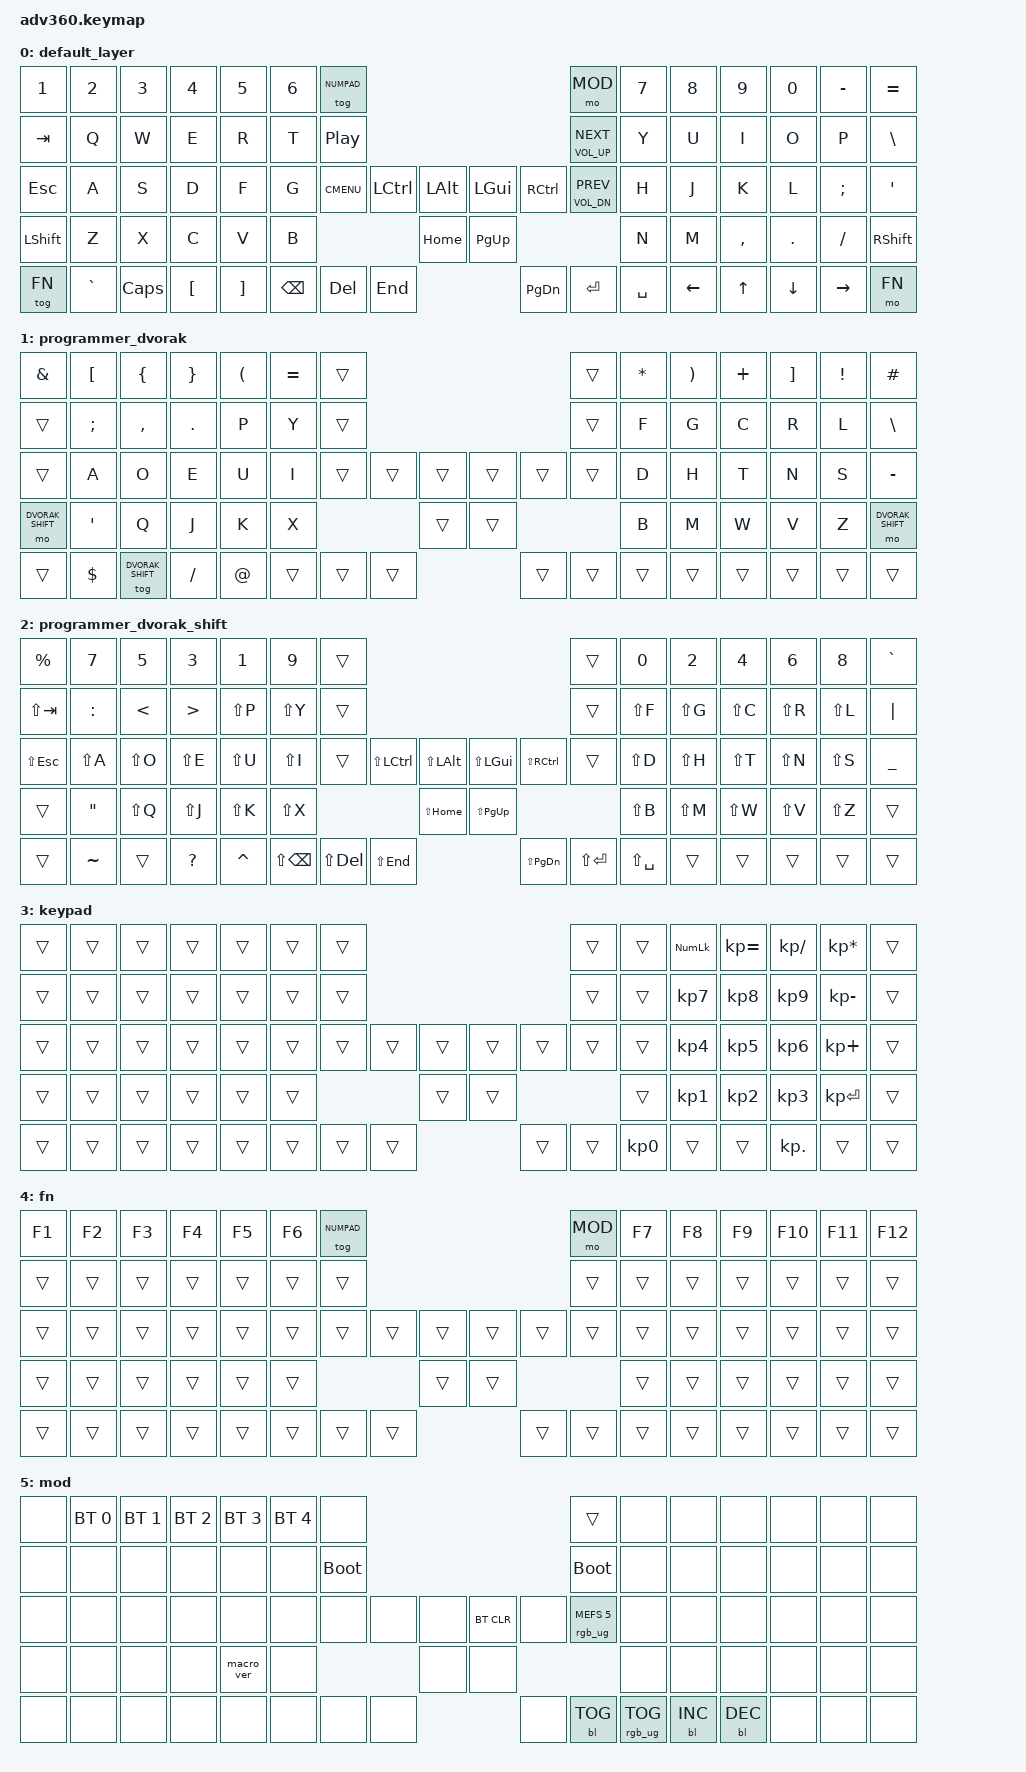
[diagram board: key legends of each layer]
#include <behaviors.dtsi>
#include <dt-bindings/zmk/keys.h>
#include <dt-bindings/zmk/bt.h>
#include <dt-bindings/zmk/rgb.h>
#include <dt-bindings/zmk/backlight.h>

// Layers                 light color:
#define QWERTY 0       // off
#define DVORAK 1       // white
#define DVORAK_SHIFT 2 // blue
#define NUMPAD 3       // green
#define FN 4           // red
#define MOD 5          // purple

/ {
    behaviors {
      #include "macros.dtsi"
      #include "version.dtsi"
      #ifndef VERSION_MACRO
      macro_ver: macro_ver {
        compatible = "zmk,behavior-macro";
        label = "macro_version";
        #binding-cells = <0>;
        bindings = <&kp RET>;
      };
      #endif

      ht: hold_tap {
          compatible = "zmk,behavior-hold-tap";
          label = "HOLD_TAP";
          #binding-cells = <2>;
          tapping-term-ms = <200>;
          flavor = "tap-preferred";
          bindings = <&kp>, <&kp>;
      };
    };
  
  combos {
    compatible = "zmk,combos";
    combo_dvk {
      timeout-ms = <200>;
      key-positions = <20 21 34 39>;
      bindings = <&tog DVORAK>;
    };
  };

  keymap {
    compatible = "zmk,keymap";

    default_layer {
      bindings = <
        &kp N1    &kp N2    &kp N3   &kp N4   &kp N5     &kp N6 &tog NUMPAD                                                                &mo MOD             &kp N7   &kp N8   &kp N9    &kp N0    &kp MINUS &kp EQUAL
        &kp TAB   &kp Q     &kp W    &kp E    &kp R      &kp T  &kp C_PLAY_PAUSE                                                           &ht C_VOL_UP C_NEXT &kp Y    &kp U    &kp I     &kp O     &kp P     &kp BSLH
        &kp ESC   &kp A     &kp S    &kp D    &kp F      &kp G  &kp K_CMENU               &kp LCTRL &kp LALT &kp LGUI  &kp RCTRL           &ht C_VOL_DN C_PREV &kp H    &kp J    &kp K     &kp L     &kp SEMI  &kp SQT
        &kp LSHFT &kp Z     &kp X    &kp C    &kp V      &kp B                                      &kp HOME &kp PG_UP                                         &kp N    &kp M    &kp COMMA &kp DOT   &kp FSLH  &kp RSHFT
        &tog FN   &kp GRAVE &kp CAPS &kp LBKT &kp RBKT                           &kp BSPC &kp DEL   &kp END  &kp PG_DN &kp ENTER &kp SPACE                              &kp LEFT &kp UP    &kp DOWN  &kp RIGHT &mo FN
      >;
    };
    programmer_dvorak {
      bindings = <
        &kp AMPS         &kp LBKT  &kp LBRC          &kp RBRC &kp LPAR   &kp EQUAL &trans                                            &trans &kp STAR &kp RPAR &kp PLUS &kp RBKT &kp EXCL &kp POUND
        &trans           &kp SEMI  &kp COMMA         &kp DOT  &kp P      &kp Y     &trans                                            &trans &kp F    &kp G    &kp C    &kp R    &kp L    &kp BSLH
        &trans           &kp A     &kp O             &kp E    &kp U      &kp I     &trans       &trans  &trans &trans  &trans        &trans &kp D    &kp H    &kp T    &kp N    &kp S    &kp MINUS
        &mo DVORAK_SHIFT &kp SQT   &kp Q             &kp J    &kp K      &kp X                          &trans &trans                       &kp B    &kp M    &kp W    &kp V    &kp Z    &mo DVORAK_SHIFT
        &trans           &kp DLLR  &tog DVORAK_SHIFT &kp FSLH &kp AT                      &trans &trans &trans  &trans &trans &trans                 &trans   &trans   &trans   &trans   &trans
      >;
    };
    programmer_dvorak_shift {
      bindings = <
        &kp PRCNT   &kp N7    &kp N5    &kp N3    &kp N1    &kp N9    &trans                                                                                   &trans &kp N0    &kp N2    &kp N4    &kp N6    &kp N8    &kp GRAVE
        &kp LS(TAB) &kp COLON &kp LT    &kp GT    &kp LS(P) &kp LS(Y) &trans                                                                                   &trans &kp LS(F) &kp LS(G) &kp LS(C) &kp LS(R) &kp LS(L) &kp PIPE
        &kp LS(ESC) &kp LS(A) &kp LS(O) &kp LS(E) &kp LS(U) &kp LS(I) &trans              &kp LS(LCTRL) &kp LS(LALT) &kp LS(LGUI)  &kp LS(RCTRL)               &trans &kp LS(D) &kp LS(H) &kp LS(T) &kp LS(N) &kp LS(S) &kp UNDERSCORE
        &trans      &kp DQT   &kp LS(Q) &kp LS(J) &kp LS(K) &kp LS(X)                                   &kp LS(HOME) &kp LS(PG_UP)                                    &kp LS(B) &kp LS(M) &kp LS(W) &kp LS(V) &kp LS(Z) &trans
        &trans      &kp TILDE &trans    &kp QMARK &kp CARET                  &kp LS(BSPC) &kp LS(DEL)   &kp LS(END)  &kp LS(PG_DN) &kp LS(ENTER) &kp LS(SPACE)                  &trans    &trans    &trans    &trans    &trans
      >;
    };
    keypad {
      bindings = <
        &trans &trans &trans &trans &trans &trans &trans                                              &trans &trans &kp KP_NUM &kp KP_EQUAL &kp KP_DIVIDE &kp KP_MULTIPLY &trans
        &trans &trans &trans &trans &trans &trans &trans                                              &trans &trans &kp KP_N7  &kp KP_N8    &kp KP_N9     &kp KP_MINUS    &trans
        &trans &trans &trans &trans &trans &trans &trans        &trans &trans &trans &trans           &trans &trans &kp KP_N4  &kp KP_N5    &kp KP_N6     &kp KP_PLUS     &trans
        &trans &trans &trans &trans &trans &trans                      &trans &trans                         &trans &kp KP_N1  &kp KP_N2    &kp KP_N3     &kp KP_ENTER    &trans
        &trans &trans &trans &trans &trans               &trans &trans &trans &trans &trans &kp KP_N0               &trans     &trans       &kp KP_DOT    &trans          &trans
      >;
    };
    fn {
      bindings = <
        &kp F1 &kp F2 &kp F3 &kp F4 &kp F5 &kp F6 &tog NUMPAD                                       &mo MOD  &kp F7 &kp F8 &kp F9 &kp F10 &kp F11 &kp F12
        &trans &trans &trans &trans &trans &trans &trans                                            &trans   &trans &trans &trans &trans  &trans  &trans
        &trans &trans &trans &trans &trans &trans &trans         &trans &trans &trans &trans        &trans   &trans &trans &trans &trans  &trans  &trans
        &trans &trans &trans &trans &trans &trans                       &trans &trans                        &trans &trans &trans &trans  &trans  &trans
        &trans &trans &trans &trans &trans                &trans &trans &trans &trans &trans &trans                 &trans &trans &trans  &trans  &trans
      >;
    };
    mod {
      bindings = <
        &none &bt BT_SEL 0 &bt BT_SEL 1 &bt BT_SEL 2 &bt BT_SEL 3 &bt BT_SEL 4 &none                                                                     &trans                 &none        &none        &none        &none &none &none
        &none &none        &none        &none        &none        &none        &bootloader                                                               &bootloader            &none        &none        &none        &none &none &none
        &none &none        &none        &none        &none        &none        &none                   &none &none &bt BT_CLR &none                      &rgb_ug RGB_MEFS_CMD 5 &none        &none        &none        &none &none &none
        &none &none        &none        &none        &macro_ver   &none                                      &none &none                                                        &none        &none        &none        &none &none &none
        &none &none        &none        &none        &none                                       &none &none &none &none      &bl BL_TOG &rgb_ug RGB_TOG                                     &bl BL_INC   &bl BL_DEC   &none &none &none
      >;
    };
  };
};
